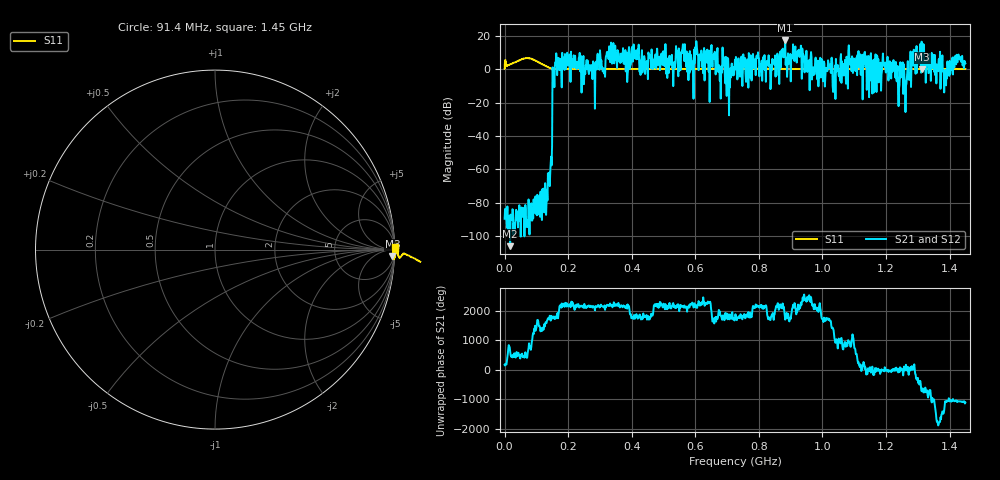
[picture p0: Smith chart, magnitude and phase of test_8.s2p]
! Created with skrf 1.11.0 (http://scikit-rf.org).
# Hz S RI R 50.0
!freq ReS11 ImS11 ReS21 ImS21 ReS12 ImS12 ReS22 ImS22
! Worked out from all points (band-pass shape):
!   1001 points, 50 kHz to 1.45 GHz, reference 50 ohm
!   highest |S21| = 17.09 dB at 883.1 MHz (marker M1); lowest = -105.9 dB at 17.45 MHz (marker M2)
!   |S21| within 3 dB of the highest: 334.7328 MHz to 335.5378 MHz (805 kHz wide, 0.24 % of centre); 341.8455 MHz to 342.4206 MHz (575.1 kHz wide, 0.168 % of centre) (the widest 2 of 15)
!   lowest |S11| = -0.1 dB at 1.314 GHz (marker M3), VSWR 181.04, Z = 693 - j2.41e+03 ohm
!   |S11| at or under -10 dB: nowhere
!   |S22| runs from - to - dB; largest |S21 - S12| = 0
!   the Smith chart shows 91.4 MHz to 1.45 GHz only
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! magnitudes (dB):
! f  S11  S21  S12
! 50 kHz  0.2  -89.5  -89.5
! 17.45 MHz  2.8  -105.9  -105.9
! 127.6 MHz  2.0  -68.2  -68.2
! 142.1 MHz  0.7  -69.9  -69.9
! 158.1 MHz  0.0  1.7  1.7
! 242.2 MHz  0.1  -14.1  -14.1
! 310.3 MHz  0.0  -0.1  -0.1
! 329.2 MHz  0.0  13.6  13.6
! 484.3 MHz  0.0  4.2  4.2
! 529.3 MHz  0.1  1.3  1.3
! 562.6 MHz  0.1  9.3  9.3
! 587.3 MHz  0.1  6.7  6.7
! 654 MHz  0.2  1.3  1.3
! 704.7 MHz  0.1  -0.1  -0.1
! 725 MHz  0.1  5.6  5.6
! 883.1 MHz  0.1  17.1  17.1
! 967.2 MHz  0.0  -6.3  -6.3
! 1.209 GHz  0.1  -2.6  -2.6
! 1.266 GHz  0.0  -5.0  -5.0
! 1.314 GHz  -0.1  10.4  10.4
! 1.386 GHz  0.0  -5.5  -5.5
! 1.45 GHz  0.0  3.4  3.4
